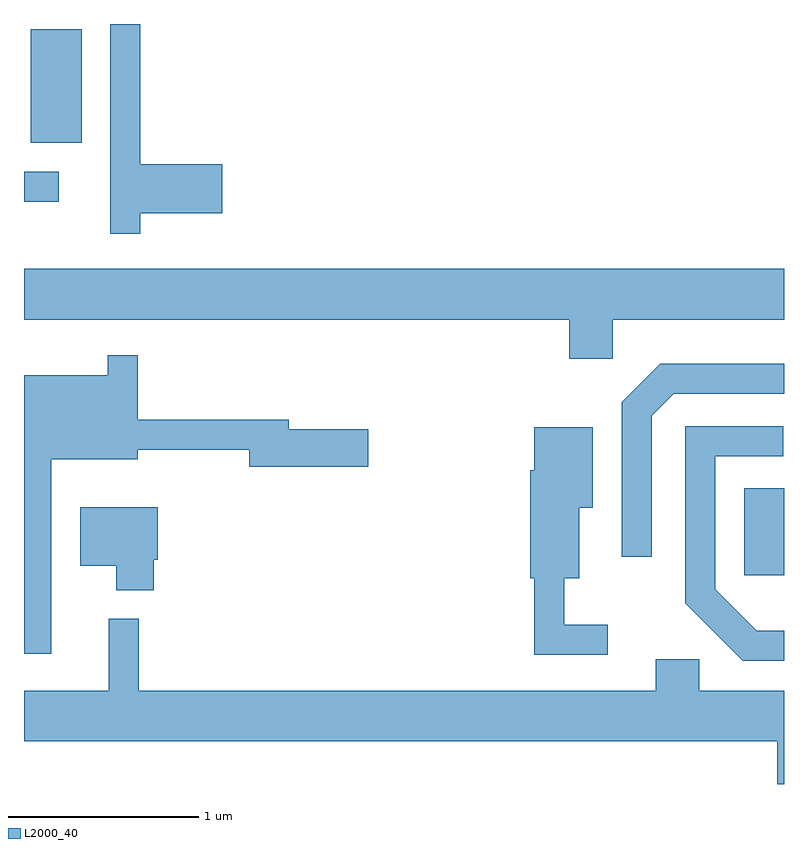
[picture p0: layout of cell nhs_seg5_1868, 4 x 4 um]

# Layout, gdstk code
import gdstk
lib = gdstk.Library(unit=1e-6, precision=1e-09)
def R(c, l, rs):  # rectangles x0, y0, x1, y1
    for r in rs: c.add(gdstk.rectangle(r[:2], r[2:], *l))
def P(c, l, *ps):  # polygons
    for p in ps: c.add(gdstk.Polygon(p, *l))
L2000_40 = (2000, 40)

nhs_seg5_1868 = lib.new_cell('nhs_seg5_1868')
R(nhs_seg5_1868, L2000_40, [(243.401,1513.171,243.611,1513.629), (239.611,1515.136,239.793,1515.294), (239.646,1515.446,239.914,1516.044)])
P(nhs_seg5_1868, L2000_40, [(240.224,1515.076),(240.654,1515.076),(240.654,1515.334),(240.224,1515.334),(240.224,1516.072),(240.066,1516.072),(240.066,1514.968),(240.224,1514.968)],
  [(242.709,1514.516),(243.611,1514.516),(243.611,1514.784),(239.611,1514.784),(239.611,1514.516),(242.481,1514.516),(242.481,1514.311),(242.709,1514.311)],
  [(239.754,1513.781),(240.209,1513.781),(240.209,1513.831),(240.796,1513.831),(240.796,1513.741),(241.424,1513.741),(241.424,1513.939),(241.004,1513.939),(241.004,1513.989),(240.209,1513.989),(240.209,1514.328),(240.051,1514.328),(240.051,1514.224),(239.611,1514.224),(239.611,1512.758),(239.754,1512.758)],
  [(242.914,1514.009),(243.032,1514.126),(243.611,1514.126),(243.611,1514.284),(242.959,1514.284),(242.756,1514.082),(242.756,1513.268),(242.914,1513.268)],
  [(243.611,1512.879),(243.467,1512.879),(243.249,1513.097),(243.249,1513.796),(243.608,1513.796),(243.608,1513.954),(243.091,1513.954),(243.091,1513.024),(243.394,1512.721),(243.611,1512.721)],
  [(242.683,1512.909),(242.454,1512.909),(242.454,1513.156),(242.534,1513.156),(242.534,1513.526),(242.604,1513.526),(242.604,1513.949),(242.296,1513.949),(242.296,1513.724),(242.276,1513.724),(242.276,1513.156),(242.296,1513.156),(242.296,1512.751),(242.683,1512.751)],
  [(240.294,1513.251),(240.314,1513.251),(240.314,1513.529),(239.906,1513.529),(239.906,1513.221),(240.096,1513.221),(240.096,1513.091),(240.294,1513.091)],
  [(243.611,1512.564),(243.164,1512.564),(243.164,1512.729),(242.936,1512.729),(242.936,1512.564),(240.214,1512.564),(240.214,1512.943),(240.056,1512.943),(240.056,1512.564),(239.611,1512.564),(239.611,1512.296),(243.576,1512.296),(243.576,1512.072),(243.611,1512.072)])

lib.write_gds('nhs_seg5_1868.gds')
